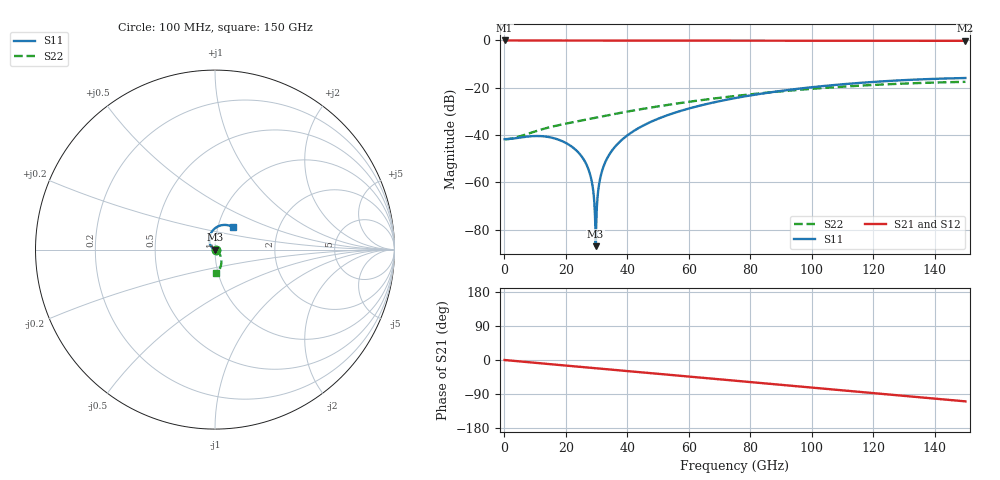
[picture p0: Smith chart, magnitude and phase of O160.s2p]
#  Hz  S  RI  R  50
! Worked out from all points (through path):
!   1500 points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, 100 MHz to 150 GHz, reference 50 ohm
!   highest |S21| = -0.07 dB at 100 MHz (marker M1); lowest = -0.2 dB at 150 GHz (marker M2)
!   group delay of S21, straight-line fit = 2.02 ps
!   lowest |S11| = -86.9 dB at 29.7 GHz (marker M3), VSWR 1.00, Z = 50 - j0.00346 ohm
!   |S11| at or under -10 dB: start of sweep to end of sweep
!   |S22| runs from -41.8 to -17.5 dB; largest |S21 - S12| = 0.031
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1e8  0.0082 3.06e-05  0.992 -0.00131  0.992 -0.00134  0.00814 1.81e-05
9.7e9  0.00944 0.00119  0.9813 -0.1245  0.9809 -0.1267  0.0118 -0.000372
1.52e10  0.00887 1.23e-05  0.9688 -0.1919  0.968 -0.1952  0.0145 -0.00312
2.09e10  0.00625 -0.000937  0.952 -0.2607  0.9506 -0.265  0.0166 -0.00656
2.51e10  0.00347 -0.000869  0.9366 -0.3108  0.9346 -0.3158  0.0181 -0.00908
2.67e10  0.00231 -0.000662  0.9299 -0.3296  0.9277 -0.335  0.0187 -0.0101
2.79e10  0.00141 -0.000448  0.9247 -0.3437  0.9223 -0.3492  0.0192 -0.0108
2.86e10  0.000881 -0.0003  0.9216 -0.3519  0.919 -0.3575  0.0195 -0.0113
2.93e10  0.000341 -0.000135  0.9183 -0.36  0.9157 -0.3657  0.0198 -0.0117
2.97e10  2.89e-05 -3.46e-05  0.9165 -0.3646  0.9138 -0.3704  0.0199 -0.012
3.02e10  -0.000364 9.87e-05  0.9141 -0.3704  0.9113 -0.3763  0.0201 -0.0123
3.09e10  -0.00092 0.000299  0.9107 -0.3784  0.9078 -0.3844  0.0204 -0.0128
3.17e10  -0.00156 0.000546  0.9067 -0.3876  0.9037 -0.3937  0.0208 -0.0133
3.3e10  -0.00263 0.000992  0.9001 -0.4024  0.8969 -0.4087  0.0213 -0.0142
3.47e10  -0.00406 0.00166  0.8912 -0.4215  0.8876 -0.4281  0.0221 -0.0155
4.07e10  -0.00939 0.00486  0.8563 -0.4876  0.8515 -0.4949  0.0246 -0.0203
5.01e10  -0.018 0.013  0.7918 -0.5855  0.7849 -0.5937  0.0283 -0.0287
6.1e10  -0.0263 0.027  0.7031 -0.6884  0.6932 -0.697  0.0322 -0.04
7.51e10  -0.0317 0.0513  0.5687 -0.8015  0.5547 -0.8096  0.0353 -0.0566
1.001e11  -0.0167 0.1009  0.2893 -0.9364  0.2683 -0.9402  0.0332 -0.0886
1.251e11  0.0322 0.1348  -0.0175 -0.9769  -0.0436 -0.9725  0.0212 -0.1164
1.5e11  0.0979 0.1264  -0.3201 -0.9204  -0.3476 -0.9052  0.00536 -0.1326
